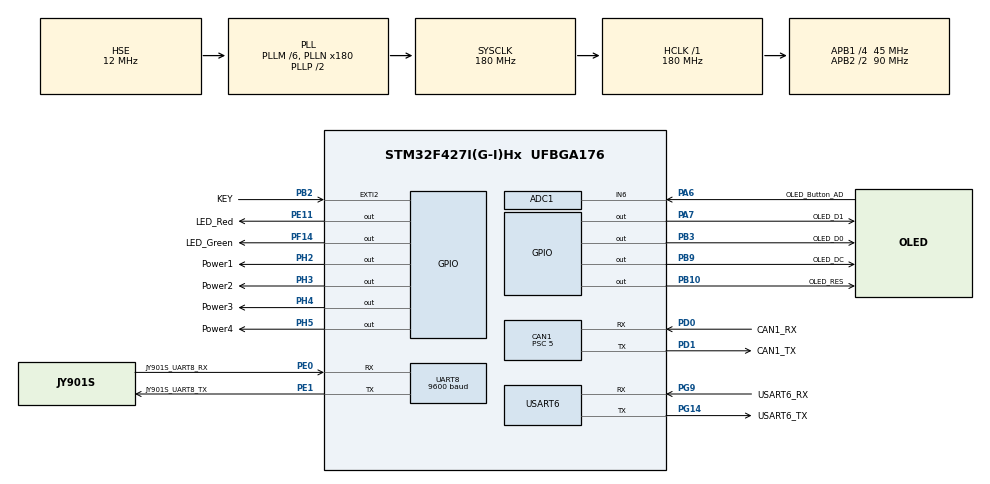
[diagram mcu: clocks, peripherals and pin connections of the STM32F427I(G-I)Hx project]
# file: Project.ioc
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ADC1.Channel-0\#ChannelRegularConversion=ADC_CHANNEL_6
ADC1.ContinuousConvMode=ENABLE
ADC1.InjNumberOfConversion=0
ADC1.NbrOfConversionFlag=1
ADC1.Rank-0\#ChannelRegularConversion=1
ADC1.SamplingTime-0\#ChannelRegularConversion=ADC_SAMPLETIME_3CYCLES
ADC1.master=1
CAN1.BS1=CAN_BS1_3TQ
CAN1.BS2=CAN_BS2_5TQ
CAN1.CalculateBaudRate=1000000
CAN1.CalculateTimeBit=1000
CAN1.CalculateTimeQuantum=111.11111111111111
CAN1.Prescaler=5
Mcu.Family=STM32F4
Mcu.Name=STM32F427I(G-I)Hx
Mcu.Package=UFBGA176
NVIC.ADC_IRQn=true\:0\:0\:false\:false\:true\:true\:true\:true
NVIC.CAN1_RX0_IRQn=true\:5\:0\:true\:false\:true\:true\:true\:true
NVIC.EXTI2_IRQn=true\:0\:0\:false\:false\:true\:true\:true\:true
NVIC.PriorityGroup=NVIC_PRIORITYGROUP_4
NVIC.UART8_IRQn=true\:0\:0\:false\:false\:true\:true\:true\:true
NVIC.USART6_IRQn=true\:0\:0\:false\:false\:true\:true\:true\:true
PA13.Mode=Serial_Wire
PA13.Signal=SYS_JTMS-SWDIO
PA14.Mode=Serial_Wire
PA14.Signal=SYS_JTCK-SWCLK
PA6.GPIO_Label=OLED_Button_AD
PA6.Signal=ADCx_IN6
PA7.GPIO_Label=OLED_D1
PA7.GPIO_PuPd=GPIO_PULLUP
PA7.GPIO_Speed=GPIO_SPEED_FREQ_HIGH
PA7.Signal=GPIO_Output
PB10.GPIO_Label=OLED_RES
PB10.GPIO_PuPd=GPIO_PULLUP
PB10.GPIO_Speed=GPIO_SPEED_FREQ_HIGH
PB10.Signal=GPIO_Output
PB2/BOOT1.GPIO_Label=KEY
PB2/BOOT1.GPIO_PuPd=GPIO_PULLDOWN
PB2/BOOT1.Signal=GPXTI2
PB3.GPIO_Label=OLED_D0
PB3.GPIO_PuPd=GPIO_PULLUP
PB3.GPIO_Speed=GPIO_SPEED_FREQ_HIGH
PB3.Signal=GPIO_Output
PB9.GPIO_Label=OLED_DC
PB9.GPIO_PuPd=GPIO_PULLUP
PB9.GPIO_Speed=GPIO_SPEED_FREQ_HIGH
PB9.Signal=GPIO_Output
PD0.GPIO_Label=CAN1_RX
PD0.Mode=CAN_Activate
PD0.Signal=CAN1_RX
PD1.GPIO_Label=CAN1_TX
PD1.Mode=CAN_Activate
PD1.Signal=CAN1_TX
PE0.GPIO_Label=JY901S_UART8_RX
PE0.GPIO_ModeDefaultPP=GPIO_MODE_AF_PP
PE0.GPIO_PuPd=GPIO_PULLUP
PE0.GPIO_Speed=GPIO_SPEED_FREQ_VERY_HIGH
PE0.Mode=Asynchronous
PE0.Signal=UART8_RX
PE1.GPIO_Label=JY901S_UART8_TX
PE1.GPIO_ModeDefaultPP=GPIO_MODE_AF_PP
PE1.GPIO_PuPd=GPIO_PULLUP
PE1.GPIO_Speed=GPIO_SPEED_FREQ_VERY_HIGH
PE1.Mode=Asynchronous
PE1.Signal=UART8_TX
PE11.GPIO_Label=LED_Red
PE11.GPIO_PuPd=GPIO_PULLUP
PE11.GPIO_Speed=GPIO_SPEED_FREQ_LOW
PE11.Signal=GPIO_Output
PF14.GPIO_Label=LED_Green
PF14.GPIO_PuPd=GPIO_PULLUP
PF14.GPIO_Speed=GPIO_SPEED_FREQ_LOW
PF14.Signal=GPIO_Output
PG14.GPIO_Label=USART6_TX
PG14.GPIO_PuPd=GPIO_PULLUP
PG14.GPIO_Speed=GPIO_SPEED_FREQ_VERY_HIGH
PG14.Mode=Asynchronous
PG14.Signal=USART6_TX
PG9.GPIO_Label=USART6_RX
PG9.GPIO_PuPd=GPIO_PULLUP
PG9.GPIO_Speed=GPIO_SPEED_FREQ_VERY_HIGH
PG9.Mode=Asynchronous
PG9.Signal=USART6_RX
PH0/OSC_IN.Mode=HSE-External-Oscillator
PH0/OSC_IN.Signal=RCC_OSC_IN
PH1/OSC_OUT.Mode=HSE-External-Oscillator
PH1/OSC_OUT.Signal=RCC_OSC_OUT
PH2.GPIO_Label=Power1
PH2.GPIO_ModeDefaultOutputPP=GPIO_MODE_OUTPUT_PP
PH2.GPIO_PuPd=GPIO_PULLDOWN
PH2.GPIO_Speed=GPIO_SPEED_FREQ_LOW
PH2.PinState=GPIO_PIN_RESET
PH2.Signal=GPIO_Output
PH3.GPIO_Label=Power2
PH3.GPIO_ModeDefaultOutputPP=GPIO_MODE_OUTPUT_PP
PH3.GPIO_PuPd=GPIO_PULLDOWN
PH3.GPIO_Speed=GPIO_SPEED_FREQ_LOW
PH3.PinState=GPIO_PIN_RESET
PH3.Signal=GPIO_Output
PH4.GPIO_Label=Power3
PH4.GPIO_ModeDefaultOutputPP=GPIO_MODE_OUTPUT_PP
PH4.GPIO_PuPd=GPIO_PULLDOWN
PH4.GPIO_Speed=GPIO_SPEED_FREQ_LOW
PH4.PinState=GPIO_PIN_RESET
PH4.Signal=GPIO_Output
PH5.GPIO_Label=Power4
PH5.GPIO_ModeDefaultOutputPP=GPIO_MODE_OUTPUT_PP
PH5.GPIO_PuPd=GPIO_PULLDOWN
PH5.GPIO_Speed=GPIO_SPEED_FREQ_LOW
PH5.PinState=GPIO_PIN_RESET
PH5.Signal=GPIO_Output
ProjectManager.HeapSize=0x200
ProjectManager.StackSize=0x400
ProjectManager.TargetToolchain=MDK-ARM V5.32
RCC.48MHZClocksFreq_Value=90000000
RCC.AHBFreq_Value=180000000
RCC.APB1CLKDivider=RCC_HCLK_DIV4
RCC.APB1Freq_Value=45000000
RCC.APB1TimFreq_Value=90000000
RCC.APB2CLKDivider=RCC_HCLK_DIV2
RCC.APB2Freq_Value=90000000
RCC.APB2TimFreq_Value=180000000
RCC.CortexFreq_Value=180000000
RCC.HCLKFreq_Value=180000000
RCC.HSE_VALUE=12000000
RCC.HSI_VALUE=16000000
RCC.LSE_VALUE=32768
RCC.PLLM=6
RCC.PLLN=180
RCC.PLLSourceVirtual=RCC_PLLSOURCE_HSE
RCC.SYSCLKFreq_VALUE=180000000
RCC.SYSCLKSource=RCC_SYSCLKSOURCE_PLLCLK
RCC.VCOOutputFreq_Value=360000000
SH.ADCx_IN6.0=ADC1_IN6,IN6
UART8.BaudRate=9600
UART8.VirtualMode=Asynchronous
USART6.VirtualMode=VM_ASYNC
board=custom

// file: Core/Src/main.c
/* USER CODE BEGIN Header */
/**
  ******************************************************************************
  * @file           : main.c
  * @brief          : Main program body
  ******************************************************************************
  * @attention
  *
  * Copyright (c) 2024 STMicroelectronics.
  * All rights reserved.
  *
  * This software is licensed under terms that can be found in the LICENSE file
  * in the root directory of this software component.
  * If no LICENSE file comes with this software, it is provided AS-IS.
  *
  ******************************************************************************
  */
/* USER CODE END Header */
#include "main.h"
#include "adc.h"
#include "can.h"
#include "usart.h"
#include "gpio.h"

void SystemClock_Config(void);

int main(void)
{

  /* MCU Configuration--------------------------------------------------------*/

  /* Reset of all peripherals, Initializes the Flash interface and the Systick. */
  HAL_Init();

  /* Configure the system clock */
  SystemClock_Config();

  /* Initialize all configured peripherals */
  MX_GPIO_Init();
  MX_ADC1_Init();
  MX_CAN1_Init();
  MX_USART6_UART_Init();
  MX_UART8_Init();
  /* USER CODE BEGIN 2 */
  Delay_Init(180);
  LED_Init();
  KEY_Init();
  OLED_Init();
  OLED_Button_Init();
  Power_Init();
  JY901S_Init();
  Motor_Preferred_Init();

  for(int i=0; i<4; i++)
  {
    Motor_PID_Init(&Motor_PID[i]);
    Motor_PID[i].F_Motor_PID_Param_Init(&Motor_PID[i], PID_DELTA, 16384, 5000, 10, 0, PID);
  }
  Motor_Data[0] = Get_Motor_Measure_Pointer(0);       //获取ID为1号的电机数据指针
  Motor_Data[1] = Get_Motor_Measure_Pointer(1);       //获取ID为2号的电机数据指针
  Motor_Data[2] = Get_Motor_Measure_Pointer(2);       //获取ID为3号的电机数据指针
  Motor_Data[3] = Get_Motor_Measure_Pointer(3);       //获取ID为4号的电机数据指针
  HAL_Delay(100);

  HAL_UART_Receive_IT(&UARTX_Handle, Receive_Data.Receive_Data_Buf, SEND_DATA_SIZE);
//  HAL_UART_Receive_IT(&JY901S_UARTX_Handle, USART_Rx_Data_JY901S, 1);
  /* USER CODE END 2 */

  /* Infinite loop */
  /* USER CODE BEGIN WHILE */

  OLED_ShowString( 0 * 8, 0 * 16, "Ang_X:", OLED_8X16);
  OLED_ShowString( 0 * 8, 1 * 16, "Ang_Y:", OLED_8X16);
  OLED_ShowString( 0 * 8, 2 * 16, "Ang_Z:", OLED_8X16);
  OLED_Update();

  while (1)
  {
    /* USER CODE END WHILE */

    /* USER CODE BEGIN 3 */
    Robot_Move(Robot_Vcx, Robot_Vcy, Robot_Wc);
    Data_Transform();
    USART6_Send_Data();

//    OLED_ShowFloatNum( 6 * 8, 0 * 16, JY901S_Data.Ang_X, 3, 2, OLED_8X16);
//    OLED_ShowFloatNum( 6 * 8, 1 * 16, JY901S_Data.Ang_Y, 3, 2, OLED_8X16);
//    OLED_ShowFloatNum( 6 * 8, 2 * 16, JY901S_Data.Ang_Z, 3, 2, OLED_8X16);
//    OLED_Update();

    HAL_Delay(10);
  }
  /* USER CODE END 3 */
}

void SystemClock_Config(void)
{
  RCC_OscInitTypeDef RCC_OscInitStruct = {0};
  RCC_ClkInitTypeDef RCC_ClkInitStruct = {0};

  /** Configure the main internal regulator output voltage
  */
  __HAL_RCC_PWR_CLK_ENABLE();
  __HAL_PWR_VOLTAGESCALING_CONFIG(PWR_REGULATOR_VOLTAGE_SCALE1);

  /** Initializes the RCC Oscillators according to the specified parameters
  * in the RCC_OscInitTypeDef structure.
  */
  RCC_OscInitStruct.OscillatorType = RCC_OSCILLATORTYPE_HSE;
  RCC_OscInitStruct.HSEState = RCC_HSE_ON;
  RCC_OscInitStruct.PLL.PLLState = RCC_PLL_ON;
  RCC_OscInitStruct.PLL.PLLSource = RCC_PLLSOURCE_HSE;
  RCC_OscInitStruct.PLL.PLLM = 6;
  RCC_OscInitStruct.PLL.PLLN = 180;
  RCC_OscInitStruct.PLL.PLLP = RCC_PLLP_DIV2;
  RCC_OscInitStruct.PLL.PLLQ = 4;
  if (HAL_RCC_OscConfig(&RCC_OscInitStruct) != HAL_OK)
  {
    Error_Handler();
  }

  /** Activate the Over-Drive mode
  */
  if (HAL_PWREx_EnableOverDrive() != HAL_OK)
  {
    Error_Handler();
  }

  /** Initializes the CPU, AHB and APB buses clocks
  */
  RCC_ClkInitStruct.ClockType = RCC_CLOCKTYPE_HCLK|RCC_CLOCKTYPE_SYSCLK
                              |RCC_CLOCKTYPE_PCLK1|RCC_CLOCKTYPE_PCLK2;
  RCC_ClkInitStruct.SYSCLKSource = RCC_SYSCLKSOURCE_PLLCLK;
  RCC_ClkInitStruct.AHBCLKDivider = RCC_SYSCLK_DIV1;
  RCC_ClkInitStruct.APB1CLKDivider = RCC_HCLK_DIV4;
  RCC_ClkInitStruct.APB2CLKDivider = RCC_HCLK_DIV2;

  if (HAL_RCC_ClockConfig(&RCC_ClkInitStruct, FLASH_LATENCY_5) != HAL_OK)
  {
    Error_Handler();
  }
}

void Error_Handler(void)
{
  __disable_irq();
  while (1)
  {
  }
}
